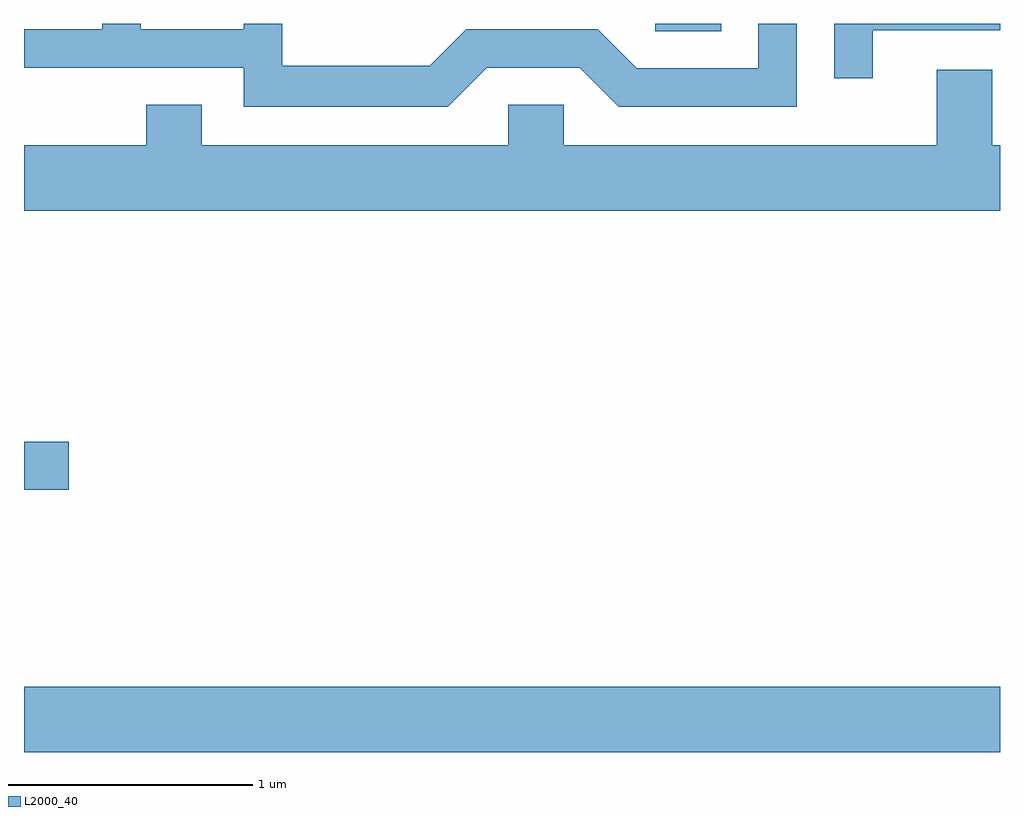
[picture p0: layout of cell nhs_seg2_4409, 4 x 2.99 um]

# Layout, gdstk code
import gdstk
lib = gdstk.Library(unit=1e-6, precision=1e-09)
def R(c, l, rs):  # rectangles x0, y0, x1, y1
    for r in rs: c.add(gdstk.rectangle(r[:2], r[2:], *l))
def P(c, l, *ps):  # polygons
    for p in ps: c.add(gdstk.Polygon(p, *l))
L2000_40 = (2000, 40)

nhs_seg2_4409 = lib.new_cell('nhs_seg2_4409')
R(nhs_seg2_4409, L2000_40, [(315.611,992.816,319.611,993.084), (315.611,993.891,315.794,994.089), (318.198,995.771,318.469,995.802)])
P(nhs_seg2_4409, L2000_40, [(317.507,995.621),(317.889,995.621),(318.049,995.461),(318.779,995.461),(318.779,995.802),(318.621,995.802),(318.621,995.619),(318.122,995.619),(317.962,995.779),(317.424,995.779),(317.274,995.629),(316.669,995.629),(316.669,995.802),(316.511,995.802),(316.511,995.779),(316.089,995.779),(316.089,995.802),(315.931,995.802),(315.931,995.779),(315.611,995.779),(315.611,995.621),(316.511,995.621),(316.511,995.461),(317.347,995.461)],
  [(319.089,995.776),(319.611,995.776),(319.611,995.802),(318.931,995.802),(318.931,995.578),(319.089,995.578)],
  [(319.611,995.304),(319.579,995.304),(319.579,995.614),(319.351,995.614),(319.351,995.304),(317.824,995.304),(317.824,995.469),(317.596,995.469),(317.596,995.304),(316.339,995.304),(316.339,995.469),(316.111,995.469),(316.111,995.304),(315.611,995.304),(315.611,995.036),(319.611,995.036)])

lib.write_gds('nhs_seg2_4409.gds')
